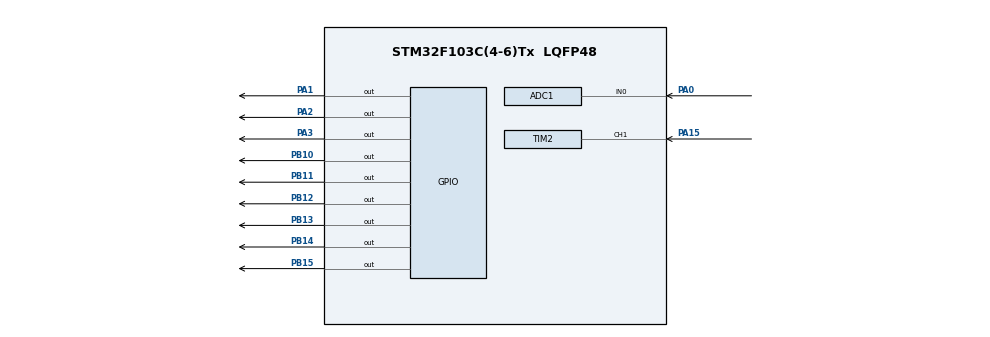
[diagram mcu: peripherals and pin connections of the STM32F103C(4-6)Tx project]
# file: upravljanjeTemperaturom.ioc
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ADC1.Channel-0\#ChannelRegularConversion=ADC_CHANNEL_0
ADC1.ContinuousConvMode=ENABLE
ADC1.NbrOfConversionFlag=1
ADC1.Rank-0\#ChannelRegularConversion=1
ADC1.SamplingTime-0\#ChannelRegularConversion=ADC_SAMPLETIME_1CYCLE_5
ADC1.master=1
Mcu.Family=STM32F1
Mcu.Name=STM32F103C(4-6)Tx
Mcu.Package=LQFP48
NVIC.ADC1_2_IRQn=true\:0\:0\:false\:false\:true\:true\:true\:true
NVIC.PriorityGroup=NVIC_PRIORITYGROUP_4
NVIC.TIM2_IRQn=true\:0\:0\:false\:false\:true\:true\:true\:true
PA0-WKUP.Signal=ADCx_IN0
PA1.Signal=GPIO_Output
PA15.Signal=S_TIM2_CH1_ETR
PA2.Signal=GPIO_Output
PA3.Signal=GPIO_Output
PB10.Signal=GPIO_Output
PB11.Signal=GPIO_Output
PB12.Signal=GPIO_Output
PB13.Signal=GPIO_Output
PB14.Signal=GPIO_Output
PB15.Signal=GPIO_Output
PD0-OSC_IN.Mode=HSE-External-Oscillator
PD0-OSC_IN.Signal=RCC_OSC_IN
PD1-OSC_OUT.Mode=HSE-External-Oscillator
PD1-OSC_OUT.Signal=RCC_OSC_OUT
ProjectManager.HeapSize=0x200
ProjectManager.StackSize=0x400
ProjectManager.TargetToolchain=MDK-ARM V5.32
RCC.APB1Freq_Value=8000000
RCC.APB2Freq_Value=8000000
SH.ADCx_IN0.0=ADC1_IN0,IN0
SH.S_TIM2_CH1_ETR.0=TIM2_CH1,Input_Capture1_from_TI1
TIM2.Channel-Input_Capture1_from_TI1=TIM_CHANNEL_1
VP_SYS_VS_ND.Mode=No_Debug
VP_TIM2_VS_ClockSourceINT.Mode=Internal
board=custom

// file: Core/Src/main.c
/* USER CODE BEGIN Header */
/**
  ******************************************************************************
  * @file           : main.c
  * @brief          : Main program body
  ******************************************************************************
  * @attention
  *
  * Copyright (c) 2024 STMicroelectronics.
  * All rights reserved.
  *
  * This software is licensed under terms that can be found in the LICENSE file
  * in the root directory of this software component.
  * If no LICENSE file comes with this software, it is provided AS-IS.
  *
  ******************************************************************************
  */
/* USER CODE END Header */
#include "main.h"

/* USER CODE BEGIN Includes */
#include "lcd_txt.h"
#include "stdio.h"
#include "stm32f1xx_hal.h"
/* USER CODE END Includes */

ADC_HandleTypeDef hadc1;

TIM_HandleTypeDef htim2;

void SystemClock_Config(void);
static void MX_GPIO_Init(void);
static void MX_ADC1_Init(void);
static void MX_TIM2_Init(void);

/* USER CODE BEGIN 0 */
#define TEMP_THRESHOLD 20.0
#define BUTTON_INC_PIN GPIO_PIN_0
#define BUTTON_DEC_PIN GPIO_PIN_1
#define BUTTON_PORT GPIOB

#define TEMP_MIN 0.0
#define TEMP_MAX 100.0

float simulated_temperature = 90.0;
GPIO_PinState last_inc_state = GPIO_PIN_RESET;
GPIO_PinState last_dec_state = GPIO_PIN_RESET;

void update_lcd_temperature(float temperature)
{
  char temp_str[16];
  sprintf(temp_str, "Temp: %.2f C", temperature);
  lcd_puts(1, 0, (int8_t*)temp_str);
}

/* USER CODE END 0 */

int main(void)
{

  /* MCU Configuration--------------------------------------------------------*/

  /* Reset of all peripherals, Initializes the Flash interface and the Systick. */
  HAL_Init();

  /* Configure the system clock */
  SystemClock_Config();

  /* Initialize all configured peripherals */
  MX_GPIO_Init();
  MX_ADC1_Init();
  MX_TIM2_Init();
  /* USER CODE BEGIN 2 */
  lcd_init();
  lcd_puts(0, 0, (int8_t*)"Temp Control");
  HAL_Delay(2000);

  lcd_clear();
  lcd_puts(0, 0, (int8_t*)"Temp Control");

  HAL_TIM_Base_Start_IT(&htim2);
  /* USER CODE END 2 */

  /* Infinite loop */
  /* USER CODE BEGIN WHILE */
  while (1)
  {
    HAL_ADC_Start(&hadc1);
    if (HAL_ADC_PollForConversion(&hadc1, HAL_MAX_DELAY) == HAL_OK)
    {
        uint32_t adc_value = HAL_ADC_GetValue(&hadc1);
        simulated_temperature = ((float)adc_value / 4095.0) * 100.0;
    }

    if (HAL_GPIO_ReadPin(BUTTON_PORT, BUTTON_INC_PIN) == GPIO_PIN_SET && last_inc_state == GPIO_PIN_RESET)
    {
        simulated_temperature += 0.5;
        last_inc_state = GPIO_PIN_SET;
        HAL_Delay(200);
    }
    else if (HAL_GPIO_ReadPin(BUTTON_PORT, BUTTON_INC_PIN) == GPIO_PIN_RESET)
    {
        last_inc_state = GPIO_PIN_RESET;
    }

    if (HAL_GPIO_ReadPin(BUTTON_PORT, BUTTON_DEC_PIN) == GPIO_PIN_SET && last_dec_state == GPIO_PIN_RESET)
    {
        simulated_temperature -= 0.5;
        last_dec_state = GPIO_PIN_SET;
        HAL_Delay(200);
    }
    else if (HAL_GPIO_ReadPin(BUTTON_PORT, BUTTON_DEC_PIN) == GPIO_PIN_RESET)
    {
        last_dec_state = GPIO_PIN_RESET;
    }
    if (simulated_temperature < TEMP_MIN)
    {
        simulated_temperature = TEMP_MIN;
    }
    if (simulated_temperature > TEMP_MAX)
    {
        simulated_temperature = TEMP_MAX;
    }

    update_lcd_temperature(simulated_temperature);
    HAL_Delay(50);
    /* USER CODE END WHILE */

  }
}

void SystemClock_Config(void)
{
  RCC_OscInitTypeDef RCC_OscInitStruct = {0};
  RCC_ClkInitTypeDef RCC_ClkInitStruct = {0};
  RCC_PeriphCLKInitTypeDef PeriphClkInit = {0};

  /** Initializes the RCC Oscillators according to the specified parameters
  * in the RCC_OscInitTypeDef structure.
  */
  RCC_OscInitStruct.OscillatorType = RCC_OSCILLATORTYPE_HSI;
  RCC_OscInitStruct.HSIState = RCC_HSI_ON;
  RCC_OscInitStruct.HSICalibrationValue = RCC_HSICALIBRATION_DEFAULT;
  RCC_OscInitStruct.PLL.PLLState = RCC_PLL_NONE;
  if (HAL_RCC_OscConfig(&RCC_OscInitStruct) != HAL_OK)
  {
    Error_Handler();
  }

  /** Initializes the CPU, AHB and APB buses clocks
  */
  RCC_ClkInitStruct.ClockType = RCC_CLOCKTYPE_HCLK|RCC_CLOCKTYPE_SYSCLK
                              |RCC_CLOCKTYPE_PCLK1|RCC_CLOCKTYPE_PCLK2;
  RCC_ClkInitStruct.SYSCLKSource = RCC_SYSCLKSOURCE_HSI;
  RCC_ClkInitStruct.AHBCLKDivider = RCC_SYSCLK_DIV1;
  RCC_ClkInitStruct.APB1CLKDivider = RCC_HCLK_DIV1;
  RCC_ClkInitStruct.APB2CLKDivider = RCC_HCLK_DIV1;

  if (HAL_RCC_ClockConfig(&RCC_ClkInitStruct, FLASH_LATENCY_0) != HAL_OK)
  {
    Error_Handler();
  }
  PeriphClkInit.PeriphClockSelection = RCC_PERIPHCLK_ADC;
  PeriphClkInit.AdcClockSelection = RCC_ADCPCLK2_DIV2;
  if (HAL_RCCEx_PeriphCLKConfig(&PeriphClkInit) != HAL_OK)
  {
    Error_Handler();
  }
}

static void MX_ADC1_Init(void)
{

  ADC_ChannelConfTypeDef sConfig = {0};

  /** Common config
  */
  hadc1.Instance = ADC1;
  hadc1.Init.ScanConvMode = ADC_SCAN_DISABLE;
  hadc1.Init.ContinuousConvMode = ENABLE;
  hadc1.Init.DiscontinuousConvMode = DISABLE;
  hadc1.Init.ExternalTrigConv = ADC_SOFTWARE_START;
  hadc1.Init.DataAlign = ADC_DATAALIGN_RIGHT;
  hadc1.Init.NbrOfConversion = 1;
  if (HAL_ADC_Init(&hadc1) != HAL_OK)
  {
    Error_Handler();
  }

  /** Configure Regular Channel
  */
  sConfig.Channel = ADC_CHANNEL_0;
  sConfig.Rank = ADC_REGULAR_RANK_1;
  sConfig.SamplingTime = ADC_SAMPLETIME_1CYCLE_5;
  if (HAL_ADC_ConfigChannel(&hadc1, &sConfig) != HAL_OK)
  {
    Error_Handler();
  }

}

static void MX_TIM2_Init(void)
{

  TIM_ClockConfigTypeDef sClockSourceConfig = {0};
  TIM_MasterConfigTypeDef sMasterConfig = {0};
  TIM_IC_InitTypeDef sConfigIC = {0};

  htim2.Instance = TIM2;
  htim2.Init.Prescaler = 7999;
  htim2.Init.CounterMode = TIM_COUNTERMODE_UP;
  htim2.Init.Period = 1000-1;
  htim2.Init.ClockDivision = TIM_CLOCKDIVISION_DIV1;
  htim2.Init.AutoReloadPreload = TIM_AUTORELOAD_PRELOAD_DISABLE;
  if (HAL_TIM_Base_Init(&htim2) != HAL_OK)
  {
    Error_Handler();
  }
  sClockSourceConfig.ClockSource = TIM_CLOCKSOURCE_INTERNAL;
  if (HAL_TIM_ConfigClockSource(&htim2, &sClockSourceConfig) != HAL_OK)
  {
    Error_Handler();
  }
  if (HAL_TIM_IC_Init(&htim2) != HAL_OK)
  {
    Error_Handler();
  }
  sMasterConfig.MasterOutputTrigger = TIM_TRGO_RESET;
  sMasterConfig.MasterSlaveMode = TIM_MASTERSLAVEMODE_DISABLE;
  if (HAL_TIMEx_MasterConfigSynchronization(&htim2, &sMasterConfig) != HAL_OK)
  {
    Error_Handler();
  }
  sConfigIC.ICPolarity = TIM_INPUTCHANNELPOLARITY_RISING;
  sConfigIC.ICSelection = TIM_ICSELECTION_DIRECTTI;
  sConfigIC.ICPrescaler = TIM_ICPSC_DIV1;
  sConfigIC.ICFilter = 0;
  if (HAL_TIM_IC_ConfigChannel(&htim2, &sConfigIC, TIM_CHANNEL_1) != HAL_OK)
  {
    Error_Handler();
  }

}

static void MX_GPIO_Init(void)
{
  GPIO_InitTypeDef GPIO_InitStruct = {0};

  /* GPIO Ports Clock Enable */
  __HAL_RCC_GPIOD_CLK_ENABLE();
  __HAL_RCC_GPIOA_CLK_ENABLE();
  __HAL_RCC_GPIOB_CLK_ENABLE();

  /*Configure GPIO pin Output Level */
  HAL_GPIO_WritePin(GPIOA, GPIO_PIN_1|GPIO_PIN_2|GPIO_PIN_3, GPIO_PIN_RESET);

  /*Configure GPIO pin Output Level */
  HAL_GPIO_WritePin(GPIOB, GPIO_PIN_10|GPIO_PIN_11|GPIO_PIN_12|GPIO_PIN_13
                          |GPIO_PIN_14|GPIO_PIN_15, GPIO_PIN_RESET);

  /*Configure GPIO pins : PA1 PA2 PA3 */
  GPIO_InitStruct.Pin = GPIO_PIN_1|GPIO_PIN_2|GPIO_PIN_3;
  GPIO_InitStruct.Mode = GPIO_MODE_OUTPUT_PP;
  GPIO_InitStruct.Pull = GPIO_NOPULL;
  GPIO_InitStruct.Speed = GPIO_SPEED_FREQ_LOW;
  HAL_GPIO_Init(GPIOA, &GPIO_InitStruct);

  /*Configure GPIO pins : PB10 PB11 PB12 PB13
                           PB14 PB15 */
  GPIO_InitStruct.Pin = GPIO_PIN_10|GPIO_PIN_11|GPIO_PIN_12|GPIO_PIN_13
                          |GPIO_PIN_14|GPIO_PIN_15;
  GPIO_InitStruct.Mode = GPIO_MODE_OUTPUT_PP;
  GPIO_InitStruct.Pull = GPIO_NOPULL;
  GPIO_InitStruct.Speed = GPIO_SPEED_FREQ_LOW;
  HAL_GPIO_Init(GPIOB, &GPIO_InitStruct);

}

/* USER CODE BEGIN 4 */
void HAL_TIM_PeriodElapsedCallback(TIM_HandleTypeDef *htim)
{
    if (htim->Instance == TIM2)
    {
        if (simulated_temperature > TEMP_THRESHOLD)
        {
            HAL_GPIO_WritePin(GPIOA, GPIO_PIN_1, GPIO_PIN_SET);
        }
        else
        {
            HAL_GPIO_WritePin(GPIOA, GPIO_PIN_1, GPIO_PIN_RESET);
        }
    }
}
/* USER CODE END 4 */

void Error_Handler(void)
{
  __disable_irq();
  while (1)
  {
  }
}
